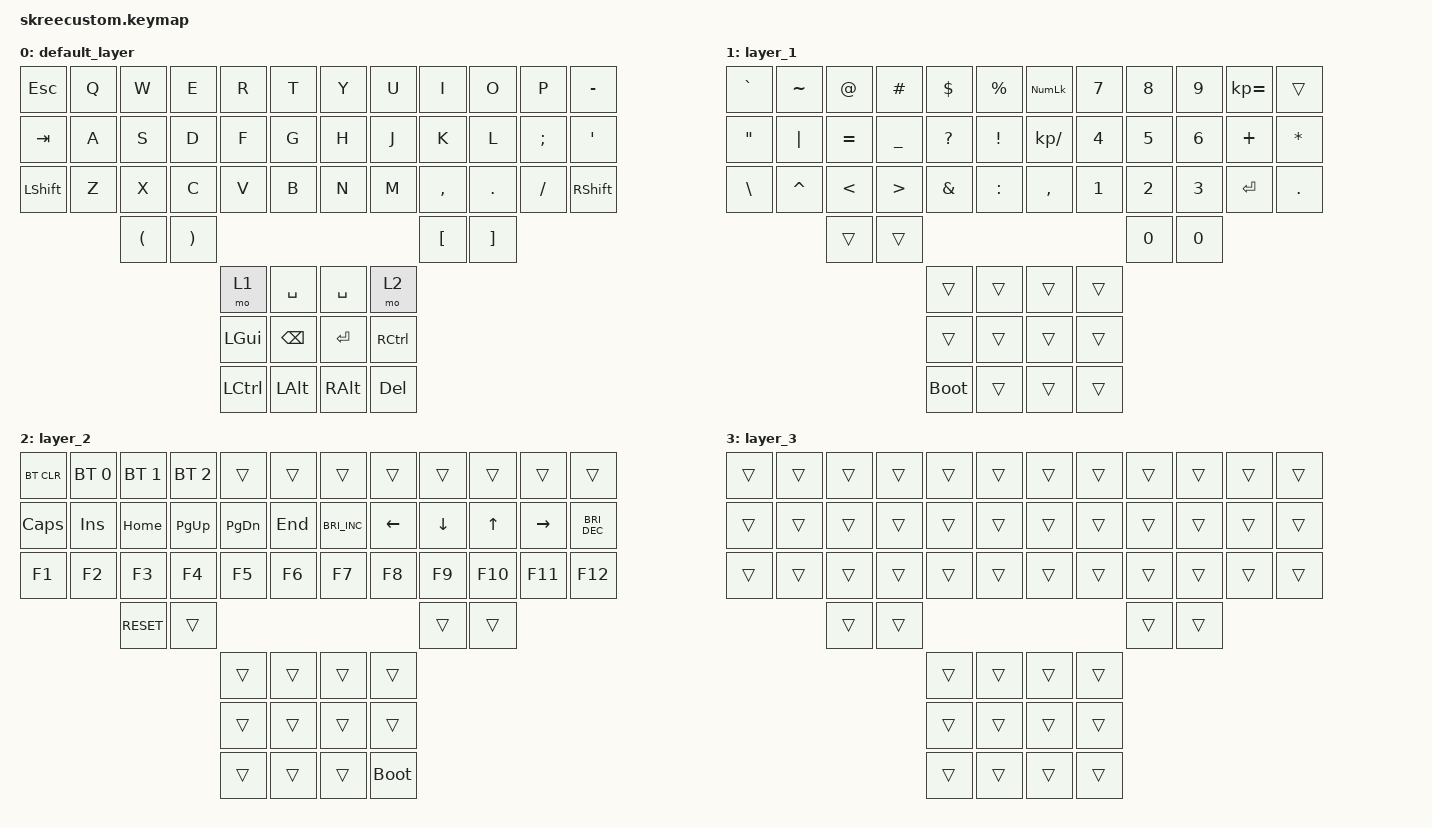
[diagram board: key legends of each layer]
/*
 * Copyright (c) 2020 The ZMK Contributors
 *
 * SPDX-License-Identifier: MIT
 */

#include <input/processors.dtsi>
#include <dt-bindings/zmk/input_transform.h>
#include <behaviors.dtsi>
#include <dt-bindings/zmk/bt.h>
#include <dt-bindings/zmk/keys.h>

/ {
    keymap {
        compatible = "zmk,keymap";

        default_layer {
            bindings = <
&kp ESC    &kp Q  &kp W                 &kp E                  &kp R      &kp T        &kp Y      &kp U      &kp I      &kp O     &kp P     &kp MINUS
&kp TAB    &kp A  &kp S                 &kp D                  &kp F      &kp G        &kp H      &kp J      &kp K      &kp L     &kp SEMI  &kp SQT
&kp LSHFT  &kp Z  &kp X                 &kp C                  &kp V      &kp B        &kp N      &kp M      &kp COMMA  &kp DOT   &kp FSLH  &kp RSHFT
                  &kp LEFT_PARENTHESIS  &kp RIGHT_PARENTHESIS                                                &kp LBKT   &kp RBKT
                                                               &mo 1      &kp SPACE    &kp SPACE  &mo 2
                                                               &kp LGUI   &kp BSPC     &kp RET    &kp RCTRL
                                                               &kp LCTRL  &kp LALT     &kp RALT   &kp DEL
            >;
        };

        layer_1 {
            bindings = <
&kp GRAVE          &kp TILDE  &kp AT_SIGN    &kp HASH          &kp DOLLAR     &kp PERCENT        &kp KP_NUMLOCK  &kp N7  &kp N8  &kp N9  &kp KP_EQUAL  &trans
&kp DOUBLE_QUOTES  &kp PIPE   &kp EQUAL      &kp UNDERSCORE    &kp QUESTION   &kp EXCLAMATION    &kp KP_DIVIDE   &kp N4  &kp N5  &kp N6  &kp PLUS      &kp ASTERISK
&kp BACKSLASH      &kp CARET  &kp LESS_THAN  &kp GREATER_THAN  &kp AMPERSAND  &kp COLON          &kp COMMA       &kp N1  &kp N2  &kp N3  &kp RET       &kp PERIOD
                              &trans         &trans                                                                      &kp N0  &kp N0
                                                               &trans         &trans             &trans          &trans
                                                               &trans         &trans             &trans          &trans
                                                               &bootloader    &trans             &trans          &trans
            >;
        };

        layer_2 {
            bindings = <
&bt BT_CLR  &bt BT_SEL 0  &bt BT_SEL 1  &bt BT_SEL 2  &trans         &trans     &trans                &trans       &trans    &trans   &trans     &trans
&kp CLCK    &kp INSERT    &kp HOME      &kp PG_UP     &kp PAGE_DOWN  &kp END    &kp C_BRIGHTNESS_INC  &kp LEFT     &kp DOWN  &kp UP   &kp RIGHT  &kp C_BRIGHTNESS_DEC
&kp F1      &kp F2        &kp F3        &kp F4        &kp F5         &kp F6     &kp F7                &kp F8       &kp F9    &kp F10  &kp F11    &kp F12
                          &kp C_RESET   &trans                                                                     &trans    &trans
                                                      &trans         &trans     &trans                &trans
                                                      &trans         &trans     &trans                &trans
                                                      &trans         &trans     &trans                &bootloader
            >;
        };

        layer_3 {
            bindings = <
&trans  &trans  &trans  &trans  &trans  &trans    &trans  &trans  &trans  &trans  &trans  &trans
&trans  &trans  &trans  &trans  &trans  &trans    &trans  &trans  &trans  &trans  &trans  &trans
&trans  &trans  &trans  &trans  &trans  &trans    &trans  &trans  &trans  &trans  &trans  &trans
                &trans  &trans                                    &trans  &trans
                                &trans  &trans    &trans  &trans
                                &trans  &trans    &trans  &trans
                                &trans  &trans    &trans  &trans
            >;
        };
    };
};

// //right hand trackball overrides
// &trackball_peripheral_listener {
//     input-processors =
//         <&zip_xy_transform INPUT_TRANSFORM_XY_SWAP>,//this gets it to the default installation orientation
//         <&zip_temp_layer 3 500>;//activate layer 3 within 500ms of the trackball moving
// };
// //left hand trackball overrides
// &trackball_central_listener {
//     input-processors = 
//         <&zip_xy_transform INPUT_TRANSFORM_XY_SWAP>,//this gets it to the default installation orientation
//         <&zip_xy_scaler 1 3>,//multiply sensitivity by 1, divide by 3 (make it slower for scrolling)
//         <&zip_xy_to_scroll_mapper>,//make this trackball output scrolling events by default instead of cursor movement
//         <&zip_scroll_transform INPUT_TRANSFORM_Y_INVERT>;//invert vertical scrolling so that the view moves in the same direction as the top of the trackball.
// };
